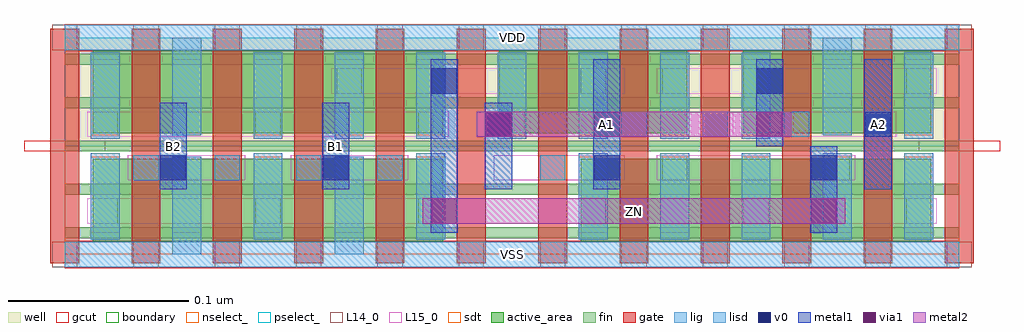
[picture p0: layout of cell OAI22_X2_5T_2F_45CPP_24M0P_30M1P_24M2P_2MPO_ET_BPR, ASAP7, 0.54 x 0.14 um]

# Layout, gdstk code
import gdstk
lib = gdstk.Library(unit=1e-6, precision=2.5e-10)
def R(c, l, rs):  # rectangles x0, y0, x1, y1
    for r in rs: c.add(gdstk.rectangle(r[:2], r[2:], *l))
def A(c, l, x, y, w, h, nx, ny, dx, dy):  # array of equal rectangles
    R(c, l, [(x+i*dx, y+j*dy, x+i*dx+w, y+j*dy+h) for i in range(nx) for j in range(ny)])
well = (1, 0)
fin = (2, 0)
gate = (7, 0)
gcut = (10, 0)
active_area = (11, 0)
nselect_ = (12, 0)
pselect_ = (13, 0)
L14_0 = (14, 0)
L15_0 = (15, 0)
lig = (16, 0)
lisd = (17, 0)
v0 = (18, 0)
metal1 = (19, 0)
metal2 = (20, 0)
via1 = (21, 0)
sdt = (88, 0)
boundary = (100, 0)

oai22_x2_5t_2f_45cpp_24m = lib.new_cell('OAI22_X2_5T_2F_45CPP_24M0P_30M1P_24M2P_2MPO_ET_BPR')
R(oai22_x2_5t_2f_45cpp_24m, well, [(0,0.06,0.495,0.12)])
A(oai22_x2_5t_2f_45cpp_24m, fin, 0, 0.009, 0.495, 0.006, 1, 5, 0, 0.024)
A(oai22_x2_5t_2f_45cpp_24m, gate, -0.008, -0.005, 0.016, 0.13, 12, 1, 0.045, 0)
R(oai22_x2_5t_2f_45cpp_24m, gcut, [(0,-0.0075,0.495,0.0075), (-0.0225,0.057,0.0225,0.063), (0.2025,0.057,0.2475,0.063), (0.4725,0.057,0.5175,0.063), (0,0.1125,0.495,0.1275)])
A(oai22_x2_5t_2f_45cpp_24m, active_area, 0.1055, 0.067, 0.104, 0.046, 3, 1, 0.135, 0)
R(oai22_x2_5t_2f_45cpp_24m, active_area, [(0.0155,0.007,0.1195,0.053), (0.1055,0.007,0.2095,0.053), (0.2855,0.007,0.3895,0.053), (0.3755,0.007,0.4795,0.053), (0.0155,0.067,0.1195,0.113)])
R(oai22_x2_5t_2f_45cpp_24m, nselect_, [(0,0,0.495,0.06)])
R(oai22_x2_5t_2f_45cpp_24m, pselect_, [(0,0.06,0.495,0.12)])
A(oai22_x2_5t_2f_45cpp_24m, L14_0, -0.007, -0.007, 0.014, 0.014, 12, 2, 0.045, 0.12)
A(oai22_x2_5t_2f_45cpp_24m, L14_0, 0.0155, 0.017, 0.014, 0.014, 6, 1, 0.09, 0)
A(oai22_x2_5t_2f_45cpp_24m, L14_0, 0.038, 0.041, 0.014, 0.014, 4, 1, 0.045, 0)
A(oai22_x2_5t_2f_45cpp_24m, L14_0, 0.0155, 0.065, 0.014, 0.014, 3, 1, 0.09, 0)
A(oai22_x2_5t_2f_45cpp_24m, L14_0, 0.308, 0.065, 0.014, 0.014, 4, 1, 0.045, 0)
A(oai22_x2_5t_2f_45cpp_24m, L14_0, 0.2855, 0.089, 0.014, 0.014, 3, 1, 0.045, 0)
R(oai22_x2_5t_2f_45cpp_24m, L14_0, [(0.263,0.041,0.277,0.055), (0.3305,0.041,0.3445,0.055), (0.4205,0.041,0.4345,0.055), (0.2405,0.065,0.2545,0.079), (0.1505,0.089,0.1645,0.103), (0.4655,0.089,0.4795,0.103)])
R(oai22_x2_5t_2f_45cpp_24m, L15_0, [(0,-0.007,0.495,0.007), (0.0125,0.017,0.4825,0.031), (0.035,0.041,0.1,0.055), (0.125,0.041,0.19,0.055), (0.2375,0.041,0.31,0.055), (0.3275,0.041,0.4375,0.055), (0.0125,0.065,0.2125,0.079), (0.23,0.065,0.2575,0.079), (0.29,0.065,0.37,0.079), (0.395,0.065,0.46,0.079), (0.1475,0.089,0.31,0.103), (0.3275,0.089,0.4825,0.103), (0,0.113,0.495,0.127)])
A(oai22_x2_5t_2f_45cpp_24m, lig, 0.038, 0.041, 0.014, 0.014, 4, 1, 0.045, 0)
A(oai22_x2_5t_2f_45cpp_24m, lig, 0.308, 0.065, 0.014, 0.014, 4, 1, 0.045, 0)
R(oai22_x2_5t_2f_45cpp_24m, lig, [(0,-0.007,0.495,0.007), (0.263,0.041,0.277,0.055), (0,0.113,0.495,0.127)])
A(oai22_x2_5t_2f_45cpp_24m, lisd, 0.0145, 0.008, 0.016, 0.048, 4, 1, 0.09, 0)
A(oai22_x2_5t_2f_45cpp_24m, lisd, 0.3295, 0.008, 0.016, 0.048, 4, 1, 0.045, 0)
A(oai22_x2_5t_2f_45cpp_24m, lisd, 0.1045, 0.064, 0.016, 0.048, 7, 1, 0.045, 0)
R(oai22_x2_5t_2f_45cpp_24m, lisd, [(0.0595,0,0.0755,0.054), (0.1495,0,0.1655,0.054), (0.0145,0.064,0.0305,0.112), (0.4645,0.064,0.4805,0.112), (0.0595,0.066,0.0755,0.12), (0.4195,0.066,0.4355,0.12)])
R(oai22_x2_5t_2f_45cpp_24m, v0, [(0.053,0.041,0.067,0.055), (0.143,0.041,0.157,0.055), (0.293,0.041,0.307,0.055), (0.413,0.041,0.427,0.055), (0.233,0.065,0.247,0.079), (0.293,0.065,0.307,0.079), (0.443,0.065,0.457,0.079), (0.203,0.089,0.217,0.103), (0.383,0.089,0.397,0.103)])
A(oai22_x2_5t_2f_45cpp_24m, metal1, 0.0525, 0.036, 0.015, 0.048, 3, 1, 0.09, 0)
R(oai22_x2_5t_2f_45cpp_24m, metal1, [(0.2025,0.012,0.2175,0.108), (0.4125,0.012,0.4275,0.06), (0.2925,0.036,0.3075,0.108), (0.4425,0.036,0.4575,0.108), (0.3825,0.06,0.3975,0.108)])
R(oai22_x2_5t_2f_45cpp_24m, metal2, [(0.198,0.017,0.432,0.031), (0.228,0.065,0.402,0.079)])
R(oai22_x2_5t_2f_45cpp_24m, via1, [(0.203,0.017,0.217,0.031), (0.413,0.017,0.427,0.031), (0.233,0.065,0.247,0.079), (0.383,0.065,0.397,0.079)])
A(oai22_x2_5t_2f_45cpp_24m, sdt, 0.0145, 0.012, 0.016, 0.042, 5, 1, 0.045, 0)
A(oai22_x2_5t_2f_45cpp_24m, sdt, 0.2845, 0.012, 0.016, 0.042, 5, 1, 0.045, 0)
A(oai22_x2_5t_2f_45cpp_24m, sdt, 0.0145, 0.066, 0.016, 0.042, 11, 1, 0.045, 0)
R(oai22_x2_5t_2f_45cpp_24m, boundary, [(0,0,0.495,0.12)])
oai22_x2_5t_2f_45cpp_24m.add(gdstk.Label('A1', (0.3,0.072), layer=19, texttype=251))
oai22_x2_5t_2f_45cpp_24m.add(gdstk.Label('ZN', (0.315,0.024), layer=20, texttype=251))
oai22_x2_5t_2f_45cpp_24m.add(gdstk.Label('A2', (0.45,0.072), layer=19, texttype=251))
oai22_x2_5t_2f_45cpp_24m.add(gdstk.Label('B1', (0.15,0.06), layer=19, texttype=251))
oai22_x2_5t_2f_45cpp_24m.add(gdstk.Label('B2', (0.06,0.06), layer=19, texttype=251))
oai22_x2_5t_2f_45cpp_24m.add(gdstk.Label('VDD', (0.2475,0.12), layer=15, texttype=251))
oai22_x2_5t_2f_45cpp_24m.add(gdstk.Label('VSS', (0.2475,0), layer=15, texttype=251))
oai22_x2_5t_2f_45cpp_24m.add(gdstk.Label('VDD', (0.2475,0.12), layer=1, texttype=251))
oai22_x2_5t_2f_45cpp_24m.add(gdstk.Label('VSS', (0.2475,0), layer=3, texttype=251))

lib.write_gds('OAI22_X2_5T_2F_45CPP_24M0P_30M1P_24M2P_2MPO_ET_BPR.gds')
